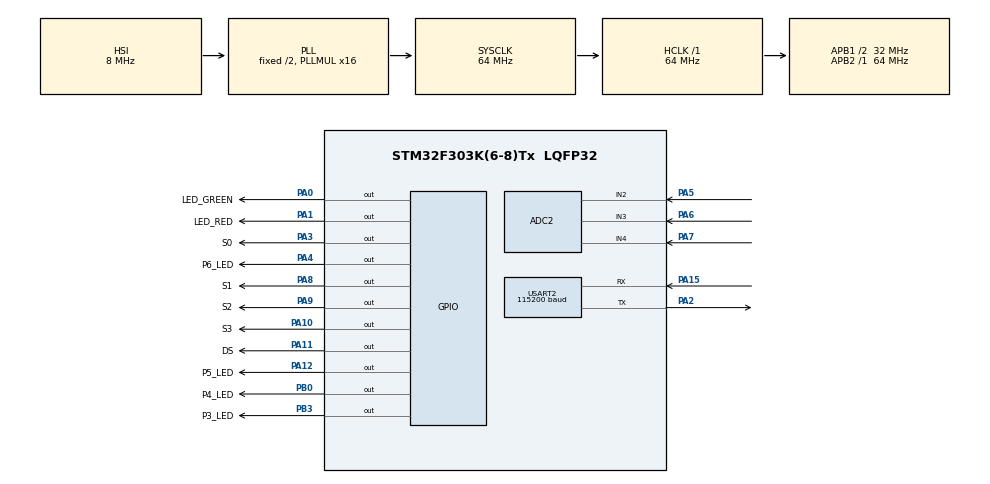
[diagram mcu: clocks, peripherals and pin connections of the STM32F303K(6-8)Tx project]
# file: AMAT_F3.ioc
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ADC2.Channel-1\#ChannelRegularConversion=ADC_CHANNEL_4
ADC2.Channel-2\#ChannelRegularConversion=ADC_CHANNEL_3
ADC2.Channel-3\#ChannelRegularConversion=ADC_CHANNEL_2
ADC2.NbrOfConversion=3
ADC2.NbrOfConversionFlag=1
ADC2.Offset-1\#ChannelRegularConversion=0
ADC2.Offset-2\#ChannelRegularConversion=0
ADC2.Offset-3\#ChannelRegularConversion=0
ADC2.OffsetNumber-1\#ChannelRegularConversion=ADC_OFFSET_NONE
ADC2.OffsetNumber-2\#ChannelRegularConversion=ADC_OFFSET_NONE
ADC2.OffsetNumber-3\#ChannelRegularConversion=ADC_OFFSET_NONE
ADC2.Rank-1\#ChannelRegularConversion=1
ADC2.Rank-2\#ChannelRegularConversion=2
ADC2.Rank-3\#ChannelRegularConversion=3
ADC2.SamplingTime-1\#ChannelRegularConversion=ADC_SAMPLETIME_601CYCLES_5
ADC2.SamplingTime-2\#ChannelRegularConversion=ADC_SAMPLETIME_601CYCLES_5
ADC2.SamplingTime-3\#ChannelRegularConversion=ADC_SAMPLETIME_601CYCLES_5
ADC2.SamplingTimeOPAMP-2\#ChannelRegularConversion=ADC_SAMPLETIME_61CYCLES_5
ADC2.SamplingTimeOPAMP-3\#ChannelRegularConversion=ADC_SAMPLETIME_61CYCLES_5
ADC2.SubFamily=STM32F303x8
Mcu.Family=STM32F3
Mcu.Name=STM32F303K(6-8)Tx
Mcu.Package=LQFP32
NVIC.PriorityGroup=NVIC_PRIORITYGROUP_4
PA0.GPIO_Label=LED_GREEN
PA0.Signal=GPIO_Output
PA1.GPIO_Label=LED_RED
PA1.Signal=GPIO_Output
PA10.GPIO_Label=S3
PA10.Signal=GPIO_Output
PA11.GPIO_Label=DS
PA11.GPIO_ModeDefaultOutputPP=GPIO_MODE_OUTPUT_OD
PA11.GPIO_PuPd=GPIO_NOPULL
PA11.PinState=GPIO_PIN_SET
PA11.Signal=GPIO_Output
PA12.GPIO_Label=P5_LED
PA12.Signal=GPIO_Output
PA13.Mode=Serial_Wire
PA13.Signal=SYS_JTMS-SWDIO
PA14.Mode=Serial_Wire
PA14.Signal=SYS_JTCK-SWCLK
PA15.Mode=Asynchronous
PA15.Signal=USART2_RX
PA2.Mode=Asynchronous
PA2.Signal=USART2_TX
PA3.GPIO_Label=S0
PA3.Signal=GPIO_Output
PA4.GPIO_Label=P6_LED
PA4.Signal=GPIO_Output
PA5.Mode=IN2-Single-Ended
PA5.Signal=ADC2_IN2
PA6.Mode=IN3-Single-Ended
PA6.Signal=ADC2_IN3
PA7.Mode=IN4-Single-Ended
PA7.Signal=ADC2_IN4
PA8.GPIO_Label=S1
PA8.Signal=GPIO_Output
PA9.GPIO_Label=S2
PA9.Signal=GPIO_Output
PB0.GPIO_Label=P4_LED
PB0.Signal=GPIO_Output
PB3.GPIO_Label=P3_LED
PB3.Signal=GPIO_Output
ProjectManager.HeapSize=0x200
ProjectManager.StackSize=0x400
ProjectManager.TargetToolchain=STM32CubeIDE
RCC.AHBFreq_Value=64000000
RCC.APB1CLKDivider=RCC_HCLK_DIV2
RCC.APB1Freq_Value=32000000
RCC.APB1TimFreq_Value=64000000
RCC.APB2Freq_Value=64000000
RCC.APB2TimFreq_Value=64000000
RCC.CortexFreq_Value=64000000
RCC.HCLKFreq_Value=64000000
RCC.HSE_VALUE=8000000
RCC.HSI_VALUE=8000000
RCC.PLLMUL=RCC_PLL_MUL16
RCC.SYSCLKFreq_VALUE=64000000
RCC.SYSCLKSourceVirtual=RCC_SYSCLKSOURCE_PLLCLK
TIM6.Prescaler=63
USART2.BaudRate=115200
USART2.VirtualMode-Asynchronous=VM_ASYNC
VP_TIM6_VS_ClockSourceINT.Mode=Enable_Timer
board=custom

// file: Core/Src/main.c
/* USER CODE BEGIN Header */
/**
  ******************************************************************************
  * @file           : main.c
  * @brief          : Main program body
  ******************************************************************************
  * @attention
  *
  * Copyright (c) 2025 STMicroelectronics.
  * All rights reserved.
  *
  * This software is licensed under terms that can be found in the LICENSE file
  * in the root directory of this software component.
  * If no LICENSE file comes with this software, it is provided AS-IS.
  *
  ******************************************************************************
  */
/* USER CODE END Header */
#include "main.h"

/* USER CODE BEGIN Includes */
#include <stdio.h>
#include "measurement.h"
#include "heating.h"
#include "ds18b20.h"
/* USER CODE END Includes */

TIM_HandleTypeDef htim6;

UART_HandleTypeDef huart2;

/* USER CODE BEGIN PV */
Module m1 = {false, 0, {0}};
Module m2 = {false, 0, {0}};
Module m3 = {false, 0, {0}};
Module m4 = {false, 0, {0}};
Module m5 = {false, 0, {0}};

float vtec = 0;

uint16_t heating_counter = 0;     // for counting heating sessions

const uint8_t ds1[] = { 0x28, 0x6d, 0x38, 0x74, 0x10, 0x0, 0x0, 0xc1 };
const uint8_t ds2[] = { 0x28, 0xde, 0xd1, 0x74, 0x10, 0x0, 0x0, 0xb6};

float temp1,temp2;

/* USER CODE END PV */

void SystemClock_Config(void);
static void MX_GPIO_Init(void);
static void MX_ADC2_Init(void);
static void MX_USART2_UART_Init(void);
static void MX_TIM6_Init(void);

/* USER CODE BEGIN 0 */
int __io_putchar(int ch)
{
  if (ch == '\n') {
    __io_putchar('\r');
  }

  HAL_UART_Transmit(&huart2, (uint8_t*)&ch, 1, HAL_MAX_DELAY);

  return 1;
}
/* USER CODE END 0 */

int main(void)
{

  /* MCU Configuration--------------------------------------------------------*/

  /* Reset of all peripherals, Initializes the Flash interface and the Systick. */
  HAL_Init();

  /* Configure the system clock */
  SystemClock_Config();

  /* Initialize all configured peripherals */
  MX_GPIO_Init();
  MX_ADC2_Init();
  MX_USART2_UART_Init();
  MX_TIM6_Init();
  /* USER CODE BEGIN 2 */

  HAL_Delay(2000);

  callibration();

  for(int i =0; i<4;i++){
	  measurement(&m1,&m2,&m3,&m4,&m5,&vtec);

  }

  modules_init(&m1,&m2,&m3,&m4,&m5);

	  if (ds18b20_init() != HAL_OK) {
	    Error_Handler();
	  }

  /* USER CODE END 2 */

  /* Infinite loop */
  /* USER CODE BEGIN WHILE */
  while (1)
  {

	  	    measurement(&m1,&m2,&m3,&m4,&m5,&vtec);
	  		modules_heating(&m1,&m2,&m3,&m4,&m5,&heating_counter,&vtec);

		  	  ds18b20_start_measure(ds1);
		  	  ds18b20_start_measure(ds2);

		  	  HAL_Delay(750);

		  	  temp1 = ds18b20_get_temp(ds1);

		  	   if (temp1 <= -80.0f)
		  	      printf("Sensor error (1)...\n");

		  	    temp2 = ds18b20_get_temp(ds2);

		  	    if (temp2 <= -80.0f)
		  	      printf("Sensor error (2)...\n");

	  		values_eval(m1.values, &vtec);
	  		values_eval(m2.values, &vtec);
	  		values_eval(m3.values, &vtec);
	  		values_eval(m4.values, &vtec);
	  		values_eval(m5.values, &vtec);

	  		if(m1.active){
	  					printf("%.3f,%.3f,%.3f,%.3f,%.3f,%.3f,%.3f,%.1f,%.1f\r\n ",m1.values[0],m1.values[1],m1.values[2],
	  					m1.values[3],m1.values[4],m1.values[5],m1.values[6],temp1,temp2);
	  		}
	  		if(m2.active){
	  					printf("%.3f,%.3f,%.3f,%.3f,%.3f,%.3f,%.3f\r\n ",m2.values[0],m2.values[1],m2.values[2],
	  					m2.values[3],m2.values[4],m2.values[5],m2.values[6]);
	  				}
	  		if(m3.active){
	  					printf("%.3f,%.3f,%.3f,%.3f,%.3f,%.3f,%.3f\r\n ",m3.values[0],m3.values[1],m3.values[2],
	  					m3.values[3],m3.values[4],m3.values[5],m3.values[6]);
	  				}
	  		if(m4.active){
	  					printf("%.3f,%.3f,%.3f,%.3f,%.3f,%.3f,%.3f\r\n ",m4.values[0],m4.values[1],m4.values[2],
	  					m4.values[3],m4.values[4],m4.values[5],m4.values[6]);
	  				}
	  		if(m5.active){
	  					printf("%.3f,%.3f,%.3f,%.3f,%.3f,%.3f,%.3f\r\n ",m5.values[0],m5.values[1],m5.values[2],
	  					m5.values[3],m5.values[4],m5.values[5],m5.values[6]);
	  				}

	  		HAL_GPIO_WritePin(LED_GREEN_GPIO_Port, LED_GREEN_Pin,SET);

	  		HAL_Delay(10000);

    /* USER CODE END WHILE */

  }
}

void SystemClock_Config(void)
{
  RCC_OscInitTypeDef RCC_OscInitStruct = {0};
  RCC_ClkInitTypeDef RCC_ClkInitStruct = {0};
  RCC_PeriphCLKInitTypeDef PeriphClkInit = {0};

  /** Initializes the RCC Oscillators according to the specified parameters
  * in the RCC_OscInitTypeDef structure.
  */
  RCC_OscInitStruct.OscillatorType = RCC_OSCILLATORTYPE_HSI;
  RCC_OscInitStruct.HSIState = RCC_HSI_ON;
  RCC_OscInitStruct.HSICalibrationValue = RCC_HSICALIBRATION_DEFAULT;
  RCC_OscInitStruct.PLL.PLLState = RCC_PLL_ON;
  RCC_OscInitStruct.PLL.PLLSource = RCC_PLLSOURCE_HSI;
  RCC_OscInitStruct.PLL.PLLMUL = RCC_PLL_MUL16;
  if (HAL_RCC_OscConfig(&RCC_OscInitStruct) != HAL_OK)
  {
    Error_Handler();
  }

  /** Initializes the CPU, AHB and APB buses clocks
  */
  RCC_ClkInitStruct.ClockType = RCC_CLOCKTYPE_HCLK|RCC_CLOCKTYPE_SYSCLK
                              |RCC_CLOCKTYPE_PCLK1|RCC_CLOCKTYPE_PCLK2;
  RCC_ClkInitStruct.SYSCLKSource = RCC_SYSCLKSOURCE_PLLCLK;
  RCC_ClkInitStruct.AHBCLKDivider = RCC_SYSCLK_DIV1;
  RCC_ClkInitStruct.APB1CLKDivider = RCC_HCLK_DIV2;
  RCC_ClkInitStruct.APB2CLKDivider = RCC_HCLK_DIV1;

  if (HAL_RCC_ClockConfig(&RCC_ClkInitStruct, FLASH_LATENCY_2) != HAL_OK)
  {
    Error_Handler();
  }
  PeriphClkInit.PeriphClockSelection = RCC_PERIPHCLK_ADC12;
  PeriphClkInit.Adc12ClockSelection = RCC_ADC12PLLCLK_DIV1;
  if (HAL_RCCEx_PeriphCLKConfig(&PeriphClkInit) != HAL_OK)
  {
    Error_Handler();
  }
}

static void MX_ADC2_Init(void)
{

  ADC_ChannelConfTypeDef sConfig = {0};

  /** Common config
  */
  hadc2.Instance = ADC2;
  hadc2.Init.ClockPrescaler = ADC_CLOCK_ASYNC_DIV1;
  hadc2.Init.Resolution = ADC_RESOLUTION_12B;
  hadc2.Init.ScanConvMode = ADC_SCAN_ENABLE;
  hadc2.Init.ContinuousConvMode = DISABLE;
  hadc2.Init.DiscontinuousConvMode = DISABLE;
  hadc2.Init.ExternalTrigConvEdge = ADC_EXTERNALTRIGCONVEDGE_NONE;
  hadc2.Init.ExternalTrigConv = ADC_SOFTWARE_START;
  hadc2.Init.DataAlign = ADC_DATAALIGN_RIGHT;
  hadc2.Init.NbrOfConversion = 3;
  hadc2.Init.DMAContinuousRequests = DISABLE;
  hadc2.Init.EOCSelection = ADC_EOC_SINGLE_CONV;
  hadc2.Init.LowPowerAutoWait = DISABLE;
  hadc2.Init.Overrun = ADC_OVR_DATA_OVERWRITTEN;
  if (HAL_ADC_Init(&hadc2) != HAL_OK)
  {
    Error_Handler();
  }

  /** Configure Regular Channel
  */
  sConfig.Channel = ADC_CHANNEL_4;
  sConfig.Rank = ADC_REGULAR_RANK_1;
  sConfig.SingleDiff = ADC_SINGLE_ENDED;
  sConfig.SamplingTime = ADC_SAMPLETIME_601CYCLES_5;
  sConfig.OffsetNumber = ADC_OFFSET_NONE;
  sConfig.Offset = 0;
  if (HAL_ADC_ConfigChannel(&hadc2, &sConfig) != HAL_OK)
  {
    Error_Handler();
  }

  /** Configure Regular Channel
  */
  sConfig.Channel = ADC_CHANNEL_3;
  sConfig.Rank = ADC_REGULAR_RANK_2;
  if (HAL_ADC_ConfigChannel(&hadc2, &sConfig) != HAL_OK)
  {
    Error_Handler();
  }

  /** Configure Regular Channel
  */
  sConfig.Channel = ADC_CHANNEL_2;
  sConfig.Rank = ADC_REGULAR_RANK_3;
  if (HAL_ADC_ConfigChannel(&hadc2, &sConfig) != HAL_OK)
  {
    Error_Handler();
  }

}

static void MX_TIM6_Init(void)
{

  TIM_MasterConfigTypeDef sMasterConfig = {0};

  htim6.Instance = TIM6;
  htim6.Init.Prescaler = 63;
  htim6.Init.CounterMode = TIM_COUNTERMODE_UP;
  htim6.Init.Period = 65535;
  htim6.Init.AutoReloadPreload = TIM_AUTORELOAD_PRELOAD_DISABLE;
  if (HAL_TIM_Base_Init(&htim6) != HAL_OK)
  {
    Error_Handler();
  }
  sMasterConfig.MasterOutputTrigger = TIM_TRGO_RESET;
  sMasterConfig.MasterSlaveMode = TIM_MASTERSLAVEMODE_DISABLE;
  if (HAL_TIMEx_MasterConfigSynchronization(&htim6, &sMasterConfig) != HAL_OK)
  {
    Error_Handler();
  }

}

static void MX_USART2_UART_Init(void)
{

  huart2.Instance = USART2;
  huart2.Init.BaudRate = 115200;
  huart2.Init.WordLength = UART_WORDLENGTH_8B;
  huart2.Init.StopBits = UART_STOPBITS_1;
  huart2.Init.Parity = UART_PARITY_NONE;
  huart2.Init.Mode = UART_MODE_TX_RX;
  huart2.Init.HwFlowCtl = UART_HWCONTROL_NONE;
  huart2.Init.OverSampling = UART_OVERSAMPLING_16;
  huart2.Init.OneBitSampling = UART_ONE_BIT_SAMPLE_DISABLE;
  huart2.AdvancedInit.AdvFeatureInit = UART_ADVFEATURE_NO_INIT;
  if (HAL_UART_Init(&huart2) != HAL_OK)
  {
    Error_Handler();
  }

}

static void MX_GPIO_Init(void)
{
  GPIO_InitTypeDef GPIO_InitStruct = {0};

  /* GPIO Ports Clock Enable */
  __HAL_RCC_GPIOA_CLK_ENABLE();
  __HAL_RCC_GPIOB_CLK_ENABLE();

  /*Configure GPIO pin Output Level */
  HAL_GPIO_WritePin(GPIOA, LED_GREEN_Pin|LED_RED_Pin|S0_Pin|P6_LED_Pin
                          |S1_Pin|S2_Pin|S3_Pin|P5_LED_Pin, GPIO_PIN_RESET);

  /*Configure GPIO pin Output Level */
  HAL_GPIO_WritePin(GPIOB, P4_LED_Pin|P3_LED_Pin, GPIO_PIN_RESET);

  /*Configure GPIO pin Output Level */
  HAL_GPIO_WritePin(DS_GPIO_Port, DS_Pin, GPIO_PIN_SET);

  /*Configure GPIO pins : LED_GREEN_Pin LED_RED_Pin S0_Pin P6_LED_Pin
                           S1_Pin S2_Pin S3_Pin P5_LED_Pin */
  GPIO_InitStruct.Pin = LED_GREEN_Pin|LED_RED_Pin|S0_Pin|P6_LED_Pin
                          |S1_Pin|S2_Pin|S3_Pin|P5_LED_Pin;
  GPIO_InitStruct.Mode = GPIO_MODE_OUTPUT_PP;
  GPIO_InitStruct.Pull = GPIO_NOPULL;
  GPIO_InitStruct.Speed = GPIO_SPEED_FREQ_LOW;
  HAL_GPIO_Init(GPIOA, &GPIO_InitStruct);

  /*Configure GPIO pins : P4_LED_Pin P3_LED_Pin */
  GPIO_InitStruct.Pin = P4_LED_Pin|P3_LED_Pin;
  GPIO_InitStruct.Mode = GPIO_MODE_OUTPUT_PP;
  GPIO_InitStruct.Pull = GPIO_NOPULL;
  GPIO_InitStruct.Speed = GPIO_SPEED_FREQ_LOW;
  HAL_GPIO_Init(GPIOB, &GPIO_InitStruct);

  /*Configure GPIO pin : DS_Pin */
  GPIO_InitStruct.Pin = DS_Pin;
  GPIO_InitStruct.Mode = GPIO_MODE_OUTPUT_OD;
  GPIO_InitStruct.Pull = GPIO_NOPULL;
  GPIO_InitStruct.Speed = GPIO_SPEED_FREQ_LOW;
  HAL_GPIO_Init(DS_GPIO_Port, &GPIO_InitStruct);

}

void Error_Handler(void)
{
  __disable_irq();
  while (1)
  {
  }
}
